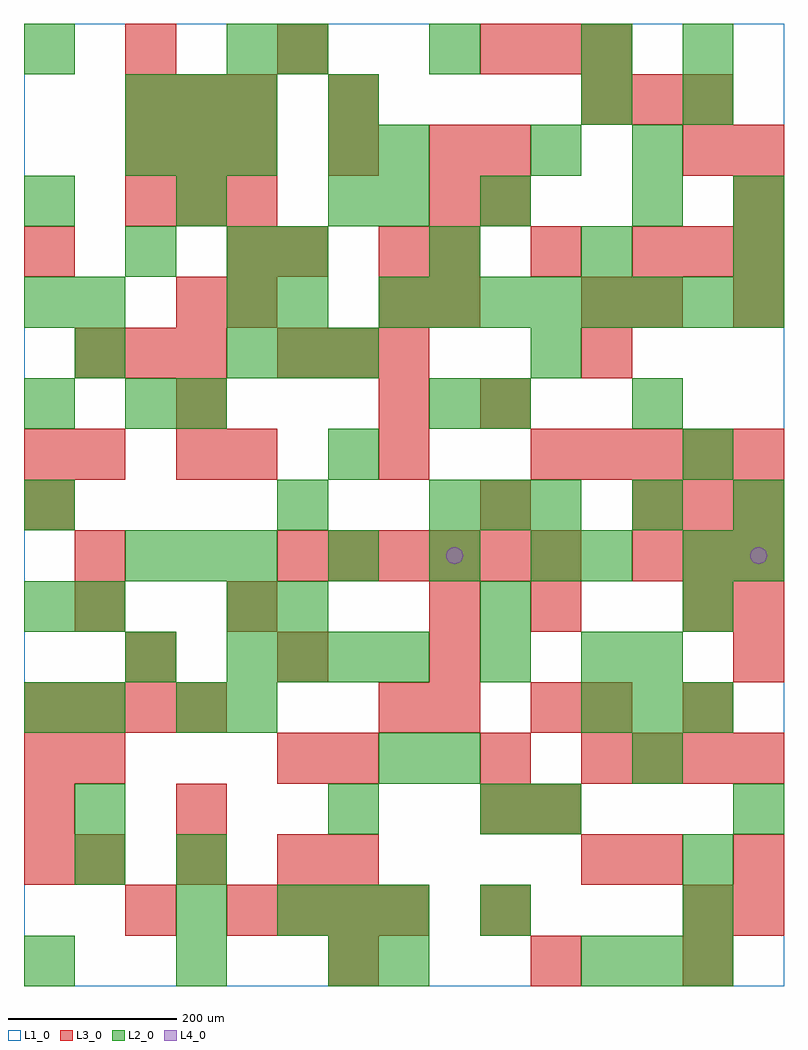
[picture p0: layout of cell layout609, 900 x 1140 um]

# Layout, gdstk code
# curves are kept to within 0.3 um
import gdstk
lib = gdstk.Library(unit=1e-6, precision=1e-09)
def R(c, l, rs):  # rectangles x0, y0, x1, y1
    for r in rs: c.add(gdstk.rectangle(r[:2], r[2:], *l))
def A(c, l, x, y, w, h, nx, ny, dx, dy):  # array of equal rectangles
    R(c, l, [(x+i*dx, y+j*dy, x+i*dx+w, y+j*dy+h) for i in range(nx) for j in range(ny)])
def P(c, l, *ps):  # polygons
    for p in ps: c.add(gdstk.Polygon(p, *l))
L1_0 = (1, 0)
L2_0 = (2, 0)
L3_0 = (3, 0)
L4_0 = (4, 0)

layout609 = lib.new_cell('layout609')
R(layout609, L1_0, [(0,0,900,1140)])
A(layout609, L2_0, 0, 0, 60, 60, 3, 2, 180, 900)
A(layout609, L2_0, 660, 0, 60, 60, 3, 2, 60, 300)
A(layout609, L2_0, 300, 60, 60, 60, 3, 1, 60, 0)
A(layout609, L2_0, 60, 180, 60, 60, 1, 3, 0, 120)
A(layout609, L2_0, 0, 300, 60, 60, 1, 5, 0, 120)
A(layout609, L2_0, 240, 360, 60, 60, 4, 1, 60, 0)
A(layout609, L2_0, 300, 420, 60, 60, 3, 1, 240, 0)
A(layout609, L2_0, 120, 480, 60, 60, 3, 2, 60, 480)
A(layout609, L2_0, 360, 480, 60, 60, 3, 1, 120, 0)
A(layout609, L2_0, 480, 540, 60, 60, 3, 1, 60, 0)
A(layout609, L2_0, 240, 720, 60, 60, 3, 1, 60, 0)
A(layout609, L2_0, 420, 780, 60, 60, 8, 1, 60, 0)
A(layout609, L2_0, 300, 840, 60, 60, 4, 1, 180, 0)
A(layout609, L2_0, 120, 1020, 60, 60, 3, 1, 60, 0)
A(layout609, L2_0, 300, 1080, 60, 60, 3, 1, 180, 0)
R(layout609, L2_0, [(420,0,480,60), (180,60,240,120), (540,60,600,120), (780,60,840,120), (60,120,120,180), (180,120,240,180), (780,120,840,180), (360,180,420,240), (540,180,600,240), (600,180,660,240), (840,180,900,240), (420,240,480,300), (480,240,540,300), (720,240,780,300), (180,300,240,360), (240,300,300,360), (120,360,180,420), (540,360,600,420), (660,360,720,420), (720,360,780,420), (240,420,300,480), (660,480,720,540), (780,480,840,540), (840,480,900,540), (300,540,360,600), (720,540,780,600), (840,540,900,600), (360,600,420,660), (780,600,840,660), (120,660,180,720), (180,660,240,720), (480,660,540,720), (540,660,600,720), (720,660,780,720), (60,720,120,780), (600,720,660,780), (60,780,120,840), (240,780,300,840), (300,780,360,840), (120,840,180,900), (240,840,300,900), (420,900,480,960), (540,900,600,960), (720,900,780,960), (840,900,900,960), (360,960,420,1020), (420,960,480,1020), (600,960,660,1020), (720,960,780,1020), (360,1020,420,1080), (660,1020,720,1080), (780,1020,840,1080), (0,1080,60,1140), (240,1080,300,1140), (780,1080,840,1140)])
A(layout609, L3_0, 360, 0, 60, 60, 1, 3, 0, 120)
A(layout609, L3_0, 240, 60, 60, 60, 4, 1, 60, 0)
A(layout609, L3_0, 0, 120, 60, 60, 1, 3, 0, 60)
A(layout609, L3_0, 60, 120, 60, 60, 3, 1, 120, 0)
A(layout609, L3_0, 600, 180, 60, 60, 1, 3, 0, 120)
A(layout609, L3_0, 660, 240, 60, 60, 4, 2, 60, 360)
A(layout609, L3_0, 0, 300, 60, 60, 4, 1, 60, 0)
A(layout609, L3_0, 120, 360, 60, 60, 3, 1, 180, 0)
A(layout609, L3_0, 300, 480, 60, 60, 6, 1, 60, 0)
A(layout609, L3_0, 720, 480, 60, 60, 3, 2, 60, 60)
A(layout609, L3_0, 240, 600, 60, 60, 3, 1, 180, 0)
A(layout609, L3_0, 60, 720, 60, 60, 3, 1, 60, 0)
A(layout609, L3_0, 300, 720, 60, 60, 3, 1, 60, 0)
A(layout609, L3_0, 840, 780, 60, 60, 1, 4, 0, 60)
A(layout609, L3_0, 480, 840, 60, 60, 3, 1, 120, 0)
A(layout609, L3_0, 120, 900, 60, 60, 3, 3, 60, 60)
A(layout609, L3_0, 660, 1020, 60, 60, 3, 1, 60, 0)
A(layout609, L3_0, 540, 1080, 60, 60, 3, 1, 60, 0)
R(layout609, L3_0, [(600,0,660,60), (780,0,840,60), (120,60,180,120), (540,60,600,120), (780,60,840,120), (840,60,900,120), (660,120,720,180), (720,120,780,180), (840,120,900,180), (180,180,240,240), (540,180,600,240), (60,240,120,300), (300,240,360,300), (540,240,600,300), (420,300,480,360), (480,300,540,360), (660,300,720,360), (780,300,840,360), (840,360,900,420), (60,420,120,480), (240,420,300,480), (480,420,540,480), (780,420,840,480), (840,420,900,480), (60,480,120,540), (0,540,60,600), (540,540,600,600), (0,600,60,660), (60,600,120,660), (180,600,240,660), (180,660,240,720), (420,660,480,720), (540,660,600,720), (660,720,720,780), (180,780,240,840), (240,780,300,840), (420,780,480,840), (480,780,540,840), (660,780,720,840), (720,780,780,840), (0,840,60,900), (240,840,300,900), (300,840,360,900), (420,840,480,900), (780,840,840,900), (480,900,540,960), (540,900,600,960), (360,960,420,1020), (480,960,540,1020), (540,960,600,1020), (780,960,840,1020), (360,1020,420,1080), (120,1080,180,1140), (300,1080,360,1140)])
P(layout609, L4_0, [(520,510),(519.239,513.827),(517.071,517.071),(513.827,519.239),(510,520),(506.173,519.239),(502.929,517.071),(500.761,513.827),(500,510),(500.761,506.173),(502.929,502.929),(506.173,500.761),(510,500),(513.827,500.761),(517.071,502.929),(519.239,506.173)],
  [(880,510),(879.239,513.827),(877.071,517.071),(873.827,519.239),(870,520),(866.173,519.239),(862.929,517.071),(860.761,513.827),(860,510),(860.761,506.173),(862.929,502.929),(866.173,500.761),(870,500),(873.827,500.761),(877.071,502.929),(879.239,506.173)])

lib.write_gds('layout609.gds')
